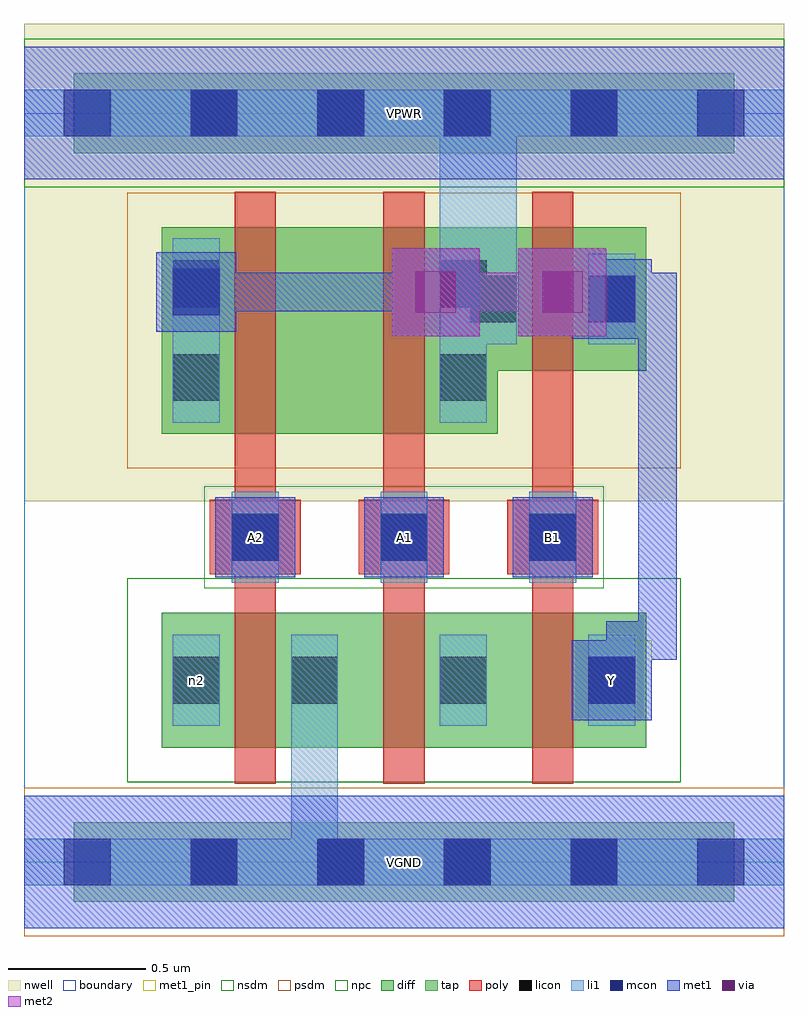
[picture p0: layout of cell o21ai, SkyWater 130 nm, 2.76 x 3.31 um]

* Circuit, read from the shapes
.subckt o21ai A1 A2 B1 VGND VPWR Y n2
XM1 VGND A2 n2 VGND sky130_fd_pr__nfet_01v8 w=0.49 l=0.15
XM2 n1 A1 VGND VGND sky130_fd_pr__nfet_01v8 w=0.49 l=0.15
XM3 Y B1 n1 VGND sky130_fd_pr__nfet_01v8 w=0.49 l=0.15
XM4 n3 A2 Y VPWR sky130_fd_pr__pfet_01v8 w=0.75 l=0.15
XM5 VPWR A1 n3 VPWR sky130_fd_pr__pfet_01v8 w=0.75 l=0.15
XM6 Y B1 VPWR VPWR sky130_fd_pr__pfet_01v8 w=0.52 l=0.15
.ends

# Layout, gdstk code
import gdstk
lib = gdstk.Library(unit=1e-6, precision=1e-09)
def R(c, l, rs):  # rectangles x0, y0, x1, y1
    for r in rs: c.add(gdstk.rectangle(r[:2], r[2:], *l))
def A(c, l, x, y, w, h, nx, ny, dx, dy):  # array of equal rectangles
    R(c, l, [(x+i*dx, y+j*dy, x+i*dx+w, y+j*dy+h) for i in range(nx) for j in range(ny)])
nwell = (64, 20)
diff = (65, 20)
tap = (65, 44)
poly = (66, 20)
licon = (66, 44)
li1 = (67, 20)
mcon = (67, 44)
met1_pin = (68, 16)
met1 = (68, 20)
via = (68, 44)
met2 = (69, 20)
nsdm = (93, 44)
psdm = (94, 20)
npc = (95, 20)
boundary = (235, 4)

o21ai = lib.new_cell('o21ai')
R(o21ai, nwell, [(0,1.31,2.76,3.045)])
R(o21ai, diff, [(0.5,0.415,2.26,0.905), (0.5,1.555,1.72,2.305), (1.58,1.785,2.26,2.305)])
R(o21ai, tap, [(0.18,-0.145,2.58,0.145), (0.18,2.575,2.58,2.865)])
A(o21ai, poly, 0.765, 0.285, 0.15, 2.15, 3, 1, 0.54, 0)
A(o21ai, poly, 0.675, 1.045, 0.33, 0.27, 3, 1, 0.54, 0)
A(o21ai, licon, 0.605, -0.085, 0.17, 0.17, 4, 2, 0.46, 2.72)
A(o21ai, licon, 0.97, 0.575, 0.17, 0.17, 3, 1, 0.54, 0)
A(o21ai, licon, 0.755, 1.095, 0.17, 0.17, 3, 1, 0.54, 0)
R(o21ai, licon, [(0.54,0.575,0.71,0.745), (0.54,1.675,0.71,1.845), (1.51,1.675,1.68,1.845), (1.62,1.96,1.79,2.13), (2.05,1.96,2.22,2.13), (0.54,2.015,0.71,2.185), (1.51,2.015,1.68,2.185)])
A(o21ai, li1, 0.97, 0.495, 0.17, 0.33, 3, 1, 0.54, 0)
A(o21ai, li1, 0.755, 1.015, 0.17, 0.33, 3, 1, 0.54, 0)
R(o21ai, li1, [(0,-0.085,2.76,0.085), (0.97,-0.085,1.14,0.825), (0.54,0.495,0.71,0.825), (0.54,1.595,0.71,2.265), (1.51,1.595,1.68,2.265), (1.51,1.595,1.68,2.805), (1.62,1.88,1.79,2.21), (1.62,1.88,1.79,2.805), (2.05,1.88,2.22,2.21), (0,2.635,2.76,2.805)])
A(o21ai, mcon, 0.145, -0.085, 0.17, 0.17, 6, 2, 0.46, 2.72)
A(o21ai, mcon, 0.755, 1.095, 0.17, 0.17, 3, 1, 0.54, 0)
R(o21ai, mcon, [(2.05,0.575,2.22,0.745), (2.05,1.96,2.22,2.13), (0.54,1.985,0.71,2.155)])
A(o21ai, met1_pin, 0.695, 1.035, 0.29, 0.29, 3, 1, 0.54, 0)
R(o21ai, met1_pin, [(0,-0.24,2.76,0.24), (1.99,0.515,2.28,0.805), (0,2.48,2.76,2.96)])
A(o21ai, met1, 0.695, 1.035, 0.29, 0.29, 3, 1, 0.54, 0)
R(o21ai, met1, [(0,-0.24,2.76,0.24), (1.99,0.515,2.28,0.805), (2.115,0.62,2.255,0.76), (2.115,0.62,2.255,0.875), (2.115,0.735,2.37,0.875), (2.23,0.735,2.37,2.14), (1.99,1.9,2.28,2.19), (1.335,1.91,1.655,2.23), (1.795,1.91,2.115,2.23), (0.48,1.925,0.77,2.215), (0.555,2,0.875,2.14), (0.735,2,1.565,2.14), (1.885,2,2.255,2.14), (2.115,2,2.255,2.14), (2.115,2,2.37,2.14), (0,2.48,2.76,2.96)])
R(o21ai, via, [(1.42,1.995,1.57,2.145), (1.88,1.995,2.03,2.145)])
R(o21ai, met2, [(1.335,1.91,1.655,2.23), (1.795,1.91,2.115,2.23), (1.425,2,2.025,2.14)])
R(o21ai, nsdm, [(0.375,0.29,2.385,1.03), (0,2.45,2.76,2.99)])
R(o21ai, psdm, [(0,-0.27,2.76,0.27), (0.375,1.43,2.385,2.43)])
R(o21ai, npc, [(0.655,0.995,2.105,1.365)])
R(o21ai, boundary, [(0,0,2.76,2.72)])
o21ai.add(gdstk.Label('n2', (0.625,0.66), layer=67, texttype=5))
o21ai.add(gdstk.Label('A1', (1.38,1.18), layer=68, texttype=5))
o21ai.add(gdstk.Label('A2', (0.84,1.18), layer=68, texttype=5))
o21ai.add(gdstk.Label('B1', (1.92,1.18), layer=68, texttype=5))
o21ai.add(gdstk.Label('Y', (2.135,0.66), layer=68, texttype=5))
o21ai.add(gdstk.Label('VPWR', (1.38,2.72), layer=68, texttype=5))
o21ai.add(gdstk.Label('VGND', (1.38,0), layer=68, texttype=5))
o21ai.add(gdstk.Label('A1', (1.38,1.18), layer=68, texttype=16))
o21ai.add(gdstk.Label('A2', (0.84,1.18), layer=68, texttype=16))
o21ai.add(gdstk.Label('B1', (1.92,1.18), layer=68, texttype=16))
o21ai.add(gdstk.Label('Y', (2.135,0.66), layer=68, texttype=16))
o21ai.add(gdstk.Label('VPWR', (1.38,2.72), layer=68, texttype=16))
o21ai.add(gdstk.Label('VGND', (1.38,0), layer=68, texttype=16))

lib.write_gds('o21ai.gds')
